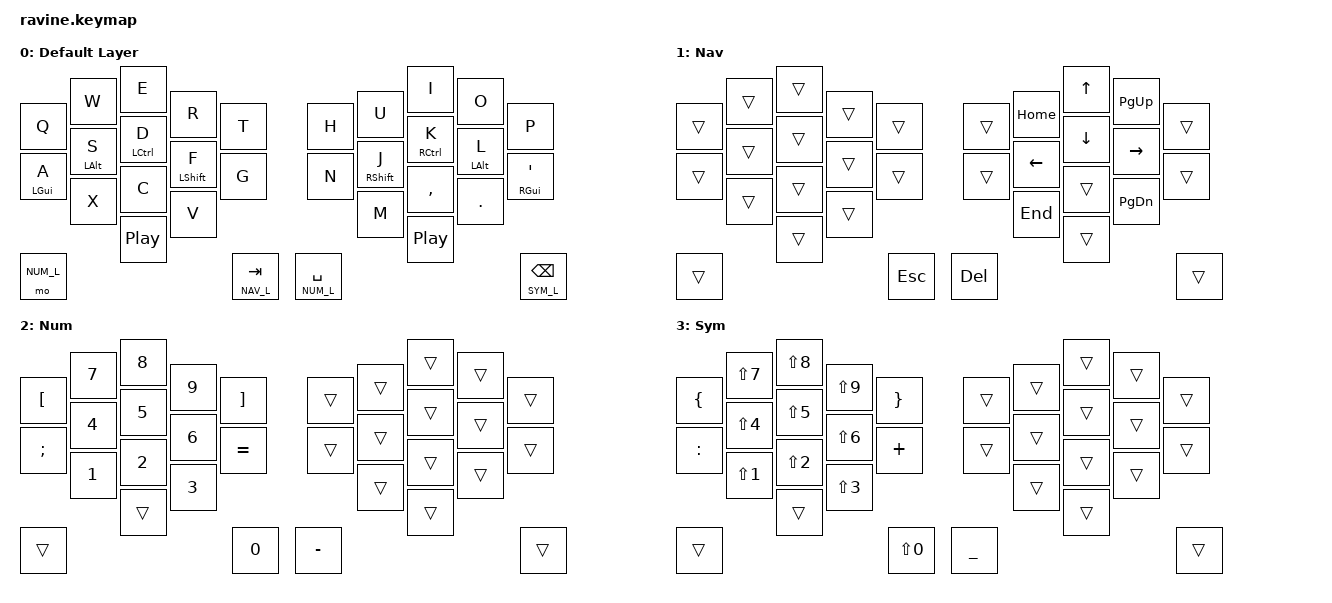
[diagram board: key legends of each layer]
/*
 * Copyright (c) 2022 The ZMK Contributors
 *
 * SPDX-License-Identifier: MIT
 */

#include <behaviors.dtsi>
#include <dt-bindings/zmk/keys.h>

#define DEF_L 0
#define NAV_L 1
#define NUM_L 2
#define SYM_L 3

// Using layer taps on thumbs, having quick tap as well helps w/ repeating space/backspace
&lt { quick-tap-ms = <200>; };

/ {
    behaviors {
        hm: homerow_mods {
            compatible = "zmk,behavior-hold-tap";
            #binding-cells = <2>;
            tapping-term-ms = <225>;
            flavor = "tap-preferred";
            bindings = <&kp>, <&kp>;
        };
    };

    combos {
        compatible = "zmk,combos";
        combo_z {
            timeout-ms = <50>;
            key-positions = <20 21>;
            bindings = <&kp Z>;
        };
        combo_b {
            timeout-ms = <50>;
            key-positions = <21 22>;
            bindings = <&kp B>;
        };

        combo_y {
            timeout-ms = <50>;
            key-positions = <23 24>;
            bindings = <&kp Y>;
        };

        combo_slash {
            timeout-ms = <50>;
            key-positions = <24 25>;
            bindings = <&kp SLASH>;
        };
    };

    keymap {
        compatible = "zmk,keymap";

        default_layer {
            display-name = "Default Layer";
            bindings = <
                &kp Q      &kp W      &kp E       &kp R           &kp T        &kp H            &kp U          &kp I       &kp O      &kp P
                &hm LGUI A &hm LALT S &hm LCTRL D &hm LSHFT F     &kp G        &kp N            &hm RSHFT J    &hm RCTRL K &hm LALT L &hm RGUI SQT
                           &kp X      &kp C       &kp V                                         &kp M          &kp COMMA  &kp DOT
                &mo NUM_L             &kp C_PP                   &lt NAV_L TAB &lt NUM_L SPACE                 &kp C_PP               &lt SYM_L BSPC
            >;
        };

        nav_layer {
            display-name = "Nav";
            bindings = <
                &trans     &trans     &trans      &trans          &trans       &trans           &kp HOME       &kp UP   &kp PG_UP  &trans
                &trans     &trans     &trans      &trans          &trans       &trans           &kp LEFT       &kp DOWN &kp RIGHT   &trans
                           &trans     &trans      &trans                                        &kp END        &trans   &kp PG_DN
                &trans                &trans                      &kp ESC      &kp DEL                         &trans               &trans
            >;
        };

        num_layer {
            display-name = "Num";
            bindings = <
                &kp LBKT   &kp N7     &kp N8      &kp N9          &kp RBKT      &trans          &trans         &trans      &trans     &trans
                &kp SEMI   &kp N4     &kp N5      &kp N6          &kp EQUAL     &trans          &trans         &trans      &trans     &trans
                           &kp N1     &kp N2      &kp N3                                        &trans         &trans      &trans
                &trans                &trans                      &kp N0        &kp MINUS                      &trans                 &trans
            >;
        };

        sym_layer {
            display-name = "Sym";
            bindings = <
                &kp LBRC   &kp LS(N7) &kp LS(N8)  &kp LS(N9)      &kp RBRC      &trans          &trans         &trans      &trans     &trans
                &kp COLON  &kp LS(N4) &kp LS(N5)  &kp LS(N6)      &kp PLUS      &trans          &trans         &trans      &trans     &trans
                           &kp LS(N1) &kp LS(N2)  &kp LS(N3)                                    &trans         &trans      &trans
                &trans                &trans                      &kp LS(N0)    &kp UNDER                      &trans                 &trans
            >;
        };
    };
};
